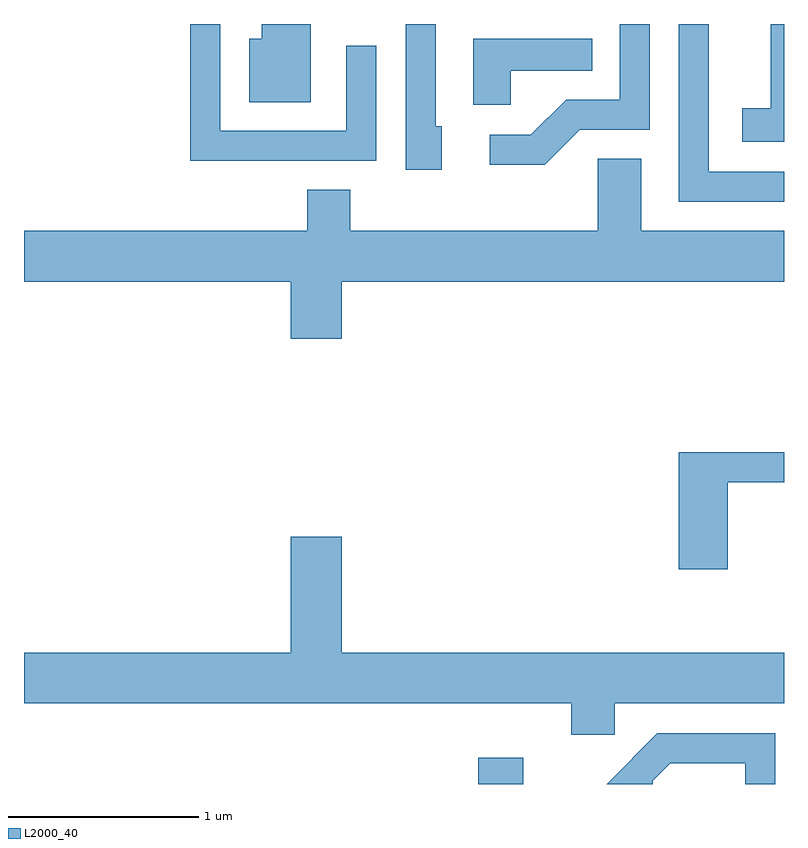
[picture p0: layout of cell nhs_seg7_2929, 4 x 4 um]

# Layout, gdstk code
import gdstk
lib = gdstk.Library(unit=1e-6, precision=1e-09)
def R(c, l, rs):  # rectangles x0, y0, x1, y1
    for r in rs: c.add(gdstk.rectangle(r[:2], r[2:], *l))
def P(c, l, *ps):  # polygons
    for p in ps: c.add(gdstk.Polygon(p, *l))
L2000_40 = (2000, 40)

nhs_seg7_2929 = lib.new_cell('nhs_seg7_2929')
R(nhs_seg7_2929, L2000_40, [(276.001,1798.252,276.238,1798.389)])
P(nhs_seg7_2929, L2000_40, [(275.119,1802.252),(274.861,1802.252),(274.861,1802.174),(274.796,1802.174),(274.796,1801.841),(275.119,1801.841)],
  [(277.611,1802.252),(277.541,1802.252),(277.541,1801.809),(277.391,1801.809),(277.391,1801.631),(277.611,1801.631)],
  [(276.537,1801.696),(276.904,1801.696),(276.904,1802.252),(276.746,1802.252),(276.746,1801.854),(276.464,1801.854),(276.279,1801.669),(276.063,1801.669),(276.063,1801.511),(276.352,1801.511)],
  [(275.809,1801.714),(275.779,1801.714),(275.779,1802.252),(275.621,1802.252),(275.621,1801.486),(275.809,1801.486)],
  [(277.611,1801.474),(277.214,1801.474),(277.214,1802.252),(277.056,1802.252),(277.056,1801.316),(277.611,1801.316)],
  [(275.464,1802.138),(275.306,1802.138),(275.306,1801.689),(274.644,1801.689),(274.644,1802.252),(274.486,1802.252),(274.486,1801.531),(275.464,1801.531)],
  [(276.174,1802.006),(276.603,1802.006),(276.603,1802.174),(275.976,1802.174),(275.976,1801.826),(276.174,1801.826)],
  [(275.284,1800.896),(277.611,1800.896),(277.611,1801.164),(276.859,1801.164),(276.859,1801.544),(276.631,1801.544),(276.631,1801.164),(275.329,1801.164),(275.329,1801.379),(275.101,1801.379),(275.101,1801.164),(273.611,1801.164),(273.611,1800.896),(275.016,1800.896),(275.016,1800.596),(275.284,1800.596)],
  [(277.314,1799.841),(277.611,1799.841),(277.611,1799.999),(277.056,1799.999),(277.056,1799.381),(277.314,1799.381)],
  [(276.719,1798.676),(277.611,1798.676),(277.611,1798.944),(275.284,1798.944),(275.284,1799.554),(275.016,1799.554),(275.016,1798.944),(273.611,1798.944),(273.611,1798.676),(276.491,1798.676),(276.491,1798.511),(276.719,1798.511)],
  [(276.919,1798.269),(277.012,1798.361),(277.406,1798.361),(277.406,1798.252),(277.564,1798.252),(277.564,1798.519),(276.944,1798.519),(276.677,1798.252),(276.919,1798.252)])

lib.write_gds('nhs_seg7_2929.gds')
